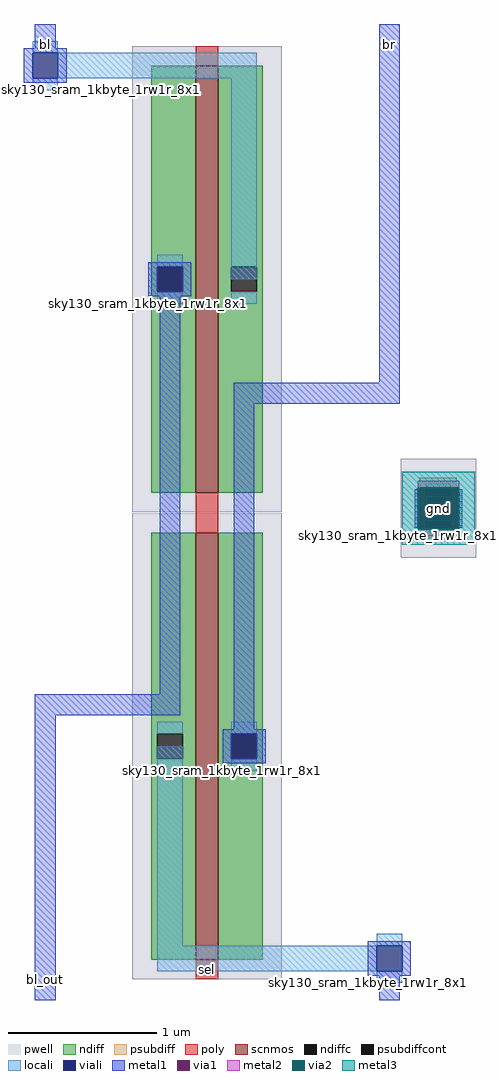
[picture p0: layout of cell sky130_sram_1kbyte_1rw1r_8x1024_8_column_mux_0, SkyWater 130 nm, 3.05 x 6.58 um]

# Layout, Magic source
magic
tech sky130A
magscale 1 2
<< pwell >>
rect 573 596 675 730
<< psubdiff >>
rect 599 680 649 704
rect 599 646 607 680
rect 641 646 649 680
rect 599 622 649 646
<< psubdiffcont >>
rect 607 646 641 680
<< poly >>
rect 297 630 327 684
rect 297 28 327 54
<< locali >>
rect 77 1277 111 1293
rect 111 1243 379 1277
rect 77 1227 111 1243
rect 245 989 279 1005
rect 345 972 379 1243
rect 245 939 279 955
rect 607 680 641 696
rect 607 630 641 646
rect 345 359 379 375
rect 245 73 279 342
rect 345 309 379 325
rect 541 73 575 89
rect 245 39 541 73
rect 541 23 575 39
<< viali >>
rect 77 1243 111 1277
rect 245 955 279 989
rect 607 646 641 680
rect 345 325 379 359
rect 541 39 575 73
<< metal1 >>
rect 80 1283 108 1316
rect 65 1277 123 1283
rect 65 1243 77 1277
rect 111 1243 123 1277
rect 65 1237 123 1243
rect 233 989 291 995
rect 233 955 245 989
rect 279 955 291 989
rect 233 949 291 955
rect 248 412 276 949
rect 544 832 572 1316
rect 80 384 276 412
rect 348 804 572 832
rect 80 0 108 384
rect 348 365 376 804
rect 592 637 598 689
rect 650 637 656 689
rect 333 359 391 365
rect 333 325 345 359
rect 379 325 391 359
rect 333 319 391 325
rect 529 73 587 79
rect 529 39 541 73
rect 575 39 587 73
rect 529 33 587 39
rect 544 0 572 33
<< via1 >>
rect 598 680 650 689
rect 598 646 607 680
rect 607 646 641 680
rect 641 646 650 680
rect 598 637 650 646
<< metal2 >>
rect 596 691 652 700
rect 596 626 652 635
<< via2 >>
rect 596 689 652 691
rect 596 637 598 689
rect 598 637 650 689
rect 650 637 652 689
rect 596 635 652 637
<< metal3 >>
rect 575 691 673 712
rect 575 635 596 691
rect 652 635 673 691
rect 575 614 673 635
use sky130_sram_1kbyte_1rw1r_8x1024_8_contact_7  sky130_sram_1kbyte_1rw1r_8x1024_8_contact_7_0
transform 1 0 591 0 1 626
box 0 0 1 1
use sky130_sram_1kbyte_1rw1r_8x1024_8_contact_19  sky130_sram_1kbyte_1rw1r_8x1024_8_contact_19_0
transform 1 0 592 0 1 631
box 0 0 1 1
use sky130_sram_1kbyte_1rw1r_8x1024_8_contact_14  sky130_sram_1kbyte_1rw1r_8x1024_8_contact_14_0
transform 1 0 595 0 1 630
box 0 0 1 1
use sky130_sram_1kbyte_1rw1r_8x1024_8_contact_15  sky130_sram_1kbyte_1rw1r_8x1024_8_contact_15_0
transform 1 0 599 0 1 622
box 0 0 1 1
use sky130_sram_1kbyte_1rw1r_8x1024_8_contact_14  sky130_sram_1kbyte_1rw1r_8x1024_8_contact_14_1
transform 1 0 333 0 1 309
box 0 0 1 1
use sky130_sram_1kbyte_1rw1r_8x1024_8_contact_14  sky130_sram_1kbyte_1rw1r_8x1024_8_contact_14_2
transform 1 0 233 0 1 939
box 0 0 1 1
use sky130_sram_1kbyte_1rw1r_8x1024_8_contact_14  sky130_sram_1kbyte_1rw1r_8x1024_8_contact_14_3
transform 1 0 529 0 1 23
box 0 0 1 1
use sky130_sram_1kbyte_1rw1r_8x1024_8_contact_14  sky130_sram_1kbyte_1rw1r_8x1024_8_contact_14_4
transform 1 0 65 0 1 1227
box 0 0 1 1
use sky130_sram_1kbyte_1rw1r_8x1024_8_nmos_m1_w2_880_sli_dli  sky130_sram_1kbyte_1rw1r_8x1024_8_nmos_m1_w2_880_sli_dli_0
transform 1 0 237 0 1 684
box -26 -26 176 602
use sky130_sram_1kbyte_1rw1r_8x1024_8_nmos_m1_w2_880_sli_dli  sky130_sram_1kbyte_1rw1r_8x1024_8_nmos_m1_w2_880_sli_dli_1
transform 1 0 237 0 1 54
box -26 -26 176 602
<< labels >>
rlabel metal3 s 575 614 673 712 4 gnd
port 1 nsew
rlabel metal1 s 80 1260 108 1316 4 bl
port 2 nsew
rlabel metal1 s 544 1260 572 1316 4 br
port 3 nsew
rlabel metal1 s 80 0 108 56 4 bl_out
port 4 nsew
rlabel metal1 s 544 0 572 56 4 br_out
port 5 nsew
rlabel poly s 312 41 312 41 4 sel
port 6 nsew
<< properties >>
string FIXED_BBOX 0 0 624 597
string GDS_FILE $PDKPATH/libs.ref/sky130_sram_macros/gds/sky130_sram_1kbyte_1rw1r_8x1024_8.gds
string GDS_END 183350
string GDS_START 180258
<< end >>

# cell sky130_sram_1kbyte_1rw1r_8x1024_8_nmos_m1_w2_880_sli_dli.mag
magic
tech sky130A
magscale 1 2
<< pwell >>
rect -26 -26 176 602
<< scnmos >>
rect 60 0 90 576
<< ndiff >>
rect 0 305 60 576
rect 0 271 8 305
rect 42 271 60 305
rect 0 0 60 271
rect 90 305 150 576
rect 90 271 108 305
rect 142 271 150 305
rect 90 0 150 271
<< ndiffc >>
rect 8 271 42 305
rect 108 271 142 305
<< poly >>
rect 60 576 90 602
rect 60 -26 90 0
<< locali >>
rect 8 305 42 321
rect 8 255 42 271
rect 108 305 142 321
rect 108 255 142 271
use sky130_sram_1kbyte_1rw1r_8x1024_8_contact_11  sky130_sram_1kbyte_1rw1r_8x1024_8_contact_11_0
transform 1 0 100 0 1 255
box 0 0 1 1
use sky130_sram_1kbyte_1rw1r_8x1024_8_contact_11  sky130_sram_1kbyte_1rw1r_8x1024_8_contact_11_1
transform 1 0 0 0 1 255
box 0 0 1 1
<< labels >>
rlabel locali s 25 288 25 288 4 S
port 1 nsew
rlabel locali s 125 288 125 288 4 D
port 2 nsew
rlabel poly s 75 288 75 288 4 G
port 3 nsew
<< properties >>
string FIXED_BBOX -25 -26 175 602
string GDS_FILE $PDKPATH/libs.ref/sky130_sram_macros/gds/sky130_sram_1kbyte_1rw1r_8x1024_8.gds
string GDS_END 52698
string GDS_START 51902
<< end >>
